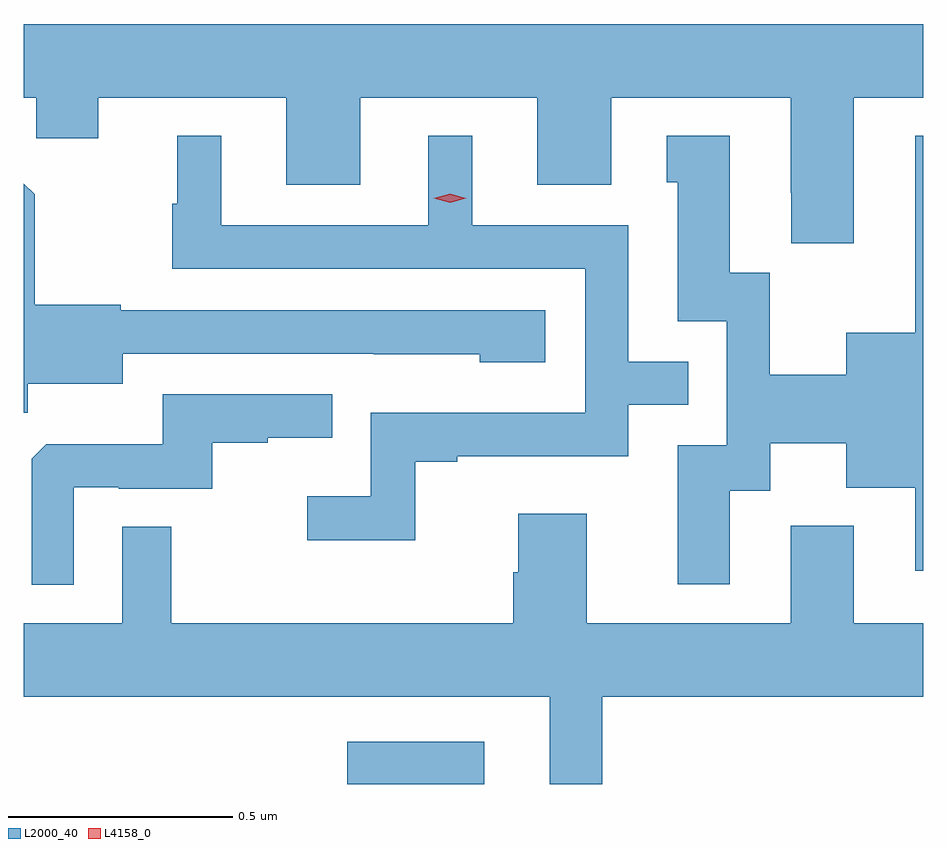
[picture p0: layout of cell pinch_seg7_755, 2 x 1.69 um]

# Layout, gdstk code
import gdstk
lib = gdstk.Library(unit=1e-6, precision=1e-09)
def R(c, l, rs):  # rectangles x0, y0, x1, y1
    for r in rs: c.add(gdstk.rectangle(r[:2], r[2:], *l))
def P(c, l, *ps):  # polygons
    for p in ps: c.add(gdstk.Polygon(p, *l))
L2000_40 = (2000, 40)
L4158_0 = (4158, 0)

pinch_seg7_755 = lib.new_cell('pinch_seg7_755')
R(pinch_seg7_755, L2000_40, [(342.944,1032.39,343.249,1032.484)])
P(pinch_seg7_755, L2000_40, [(342.225,1033.916),(342.253,1033.916),(342.253,1033.826),(342.391,1033.826),(342.391,1033.916),(342.809,1033.916),(342.809,1033.722),(342.973,1033.722),(342.973,1033.916),(343.367,1033.916),(343.367,1033.722),(343.531,1033.722),(343.531,1033.916),(343.931,1033.916),(343.931,1033.705),(343.932,1033.705),(343.932,1033.593),(344.071,1033.593),(344.071,1033.916),(344.225,1033.916),(344.225,1034.08),(342.225,1034.08)],
  [(343.795,1033.042),(343.885,1033.042),(343.885,1033.148),(344.054,1033.148),(344.054,1033.049),(344.207,1033.049),(344.207,1032.864),(344.225,1032.864),(344.225,1033.831),(344.207,1033.831),(344.207,1033.393),(344.054,1033.393),(344.054,1033.3),(343.884,1033.3),(343.884,1033.527),(343.795,1033.527),(343.795,1033.831),(343.655,1033.831),(343.655,1033.728),(343.679,1033.728),(343.679,1033.419),(343.788,1033.419),(343.788,1033.143),(343.679,1033.143),(343.679,1032.834),(343.795,1032.834)],
  [(343.095,1033.107),(343.189,1033.107),(343.189,1033.119),(343.569,1033.119),(343.569,1033.233),(343.703,1033.233),(343.703,1033.329),(343.569,1033.329),(343.569,1033.632),(343.222,1033.632),(343.222,1033.831),(343.124,1033.831),(343.124,1033.632),(342.664,1033.632),(342.664,1033.831),(342.566,1033.831),(342.566,1033.68),(342.555,1033.68),(342.555,1033.536),(343.473,1033.536),(343.473,1033.215),(342.996,1033.215),(342.996,1033.03),(342.855,1033.03),(342.855,1032.932),(343.095,1032.932)],
  [(342.234,1033.28),(342.445,1033.28),(342.445,1033.347),(343.003,1033.347),(343.003,1033.346),(343.239,1033.346),(343.239,1033.328),(343.384,1033.328),(343.384,1033.443),(342.441,1033.443),(342.441,1033.456),(342.249,1033.456),(342.249,1033.701),(342.225,1033.725),(342.225,1033.216),(342.234,1033.216)],
  [(342.336,1033.05),(342.436,1033.05),(342.436,1033.047),(342.644,1033.047),(342.644,1033.149),(342.767,1033.149),(342.767,1033.16),(342.911,1033.16),(342.911,1033.257),(342.534,1033.257),(342.534,1033.145),(342.275,1033.145),(342.243,1033.113),(342.243,1032.833),(342.336,1032.833)],
  [(343.511,1032.584),(344.225,1032.584),(344.225,1032.748),(344.071,1032.748),(344.071,1032.964),(343.931,1032.964),(343.931,1032.748),(343.477,1032.748),(343.477,1032.991),(343.325,1032.991),(343.325,1032.861),(343.313,1032.861),(343.313,1032.748),(342.553,1032.748),(342.553,1032.962),(342.444,1032.962),(342.444,1032.748),(342.225,1032.748),(342.225,1032.584),(343.394,1032.584),(343.394,1032.39),(343.511,1032.39)])
P(pinch_seg7_755, L4158_0, [(343.173,1033.682),(343.137,1033.692),(343.137,1033.692),(343.137,1033.692),(343.173,1033.702),(343.208,1033.692),(343.209,1033.692),(343.208,1033.692)])

lib.write_gds('pinch_seg7_755.gds')
